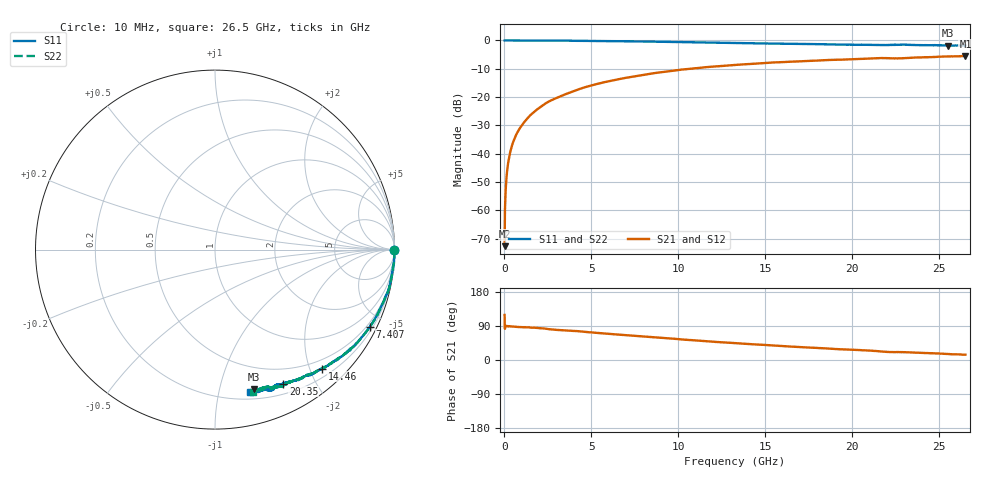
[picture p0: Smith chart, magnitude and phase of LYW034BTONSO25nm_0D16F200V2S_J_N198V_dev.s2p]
!Keysight Technologies,N5222B,MY61253708,A.15.00.15
!Date: Wednesday, June 19, 2024 10:42:51
!Correction: S11(C  2-Port  )
!S21(C  2-Port  )
!S12(C  2-Port  )
!S22(C  2-Port  )
!S2P File: Measurements: S11, S21, S12, S22:
# Hz S  RI  R 50
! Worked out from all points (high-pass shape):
!   2651 points, 10 MHz to 26.5 GHz, reference 50 ohm
!   highest |S21| = -5.47 dB at 26.5 GHz (marker M1); lowest = -72.6 dB at 10 MHz (marker M2)
!   |S21| within 3 dB of the highest: 13.64259 GHz to 13.65715 GHz (14.56 MHz wide, 0.107 % of centre); 13.7 GHz to end of sweep
!   lowest |S11| = -1.9 dB at 25.5 GHz (marker M3), VSWR 9.40, Z = 14.3 - j63.9 ohm
!   |S11| at or under -10 dB: nowhere
!   |S22| runs from -1.8 to 0.0 dB; largest |S21 - S12| = 0.0075
!   S11 on the Smith chart (normalised r, x): 10 MHz: open; 7.407 GHz: 0.35, -4.22; 14.46 GHz: 0.34, -2.20; 20.35 GHz: 0.32, -1.59; 26.5 GHz: 0.26, -1.25
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1e7  0.9984 -0.0034  -0.000113 0.000205  0.000213 0.000174  0.9982 -0.00215
7.997358e7  0.9999 -0.00563  3.12e-05 0.00255  -1.37e-06 0.00257  0.9994 -0.00523
1.499472e8  1 -0.0106  4.34e-05 0.00485  5.35e-05 0.00486  0.9996 -0.01
1.899321e8  1 -0.0124  8.49e-05 0.0061  0.000113 0.00613  0.9998 -0.0117
2.499094e8  0.9996 -0.0167  0.000126 0.00806  0.000137 0.00806  0.9994 -0.0159
3.498717e8  0.9998 -0.0232  0.000243 0.0113  0.000263 0.0113  0.9997 -0.0224
4.698264e8  0.9985 -0.0315  0.000476 0.0151  0.000419 0.0152  0.9983 -0.0304
6.29766e8  0.9987 -0.0406  0.000845 0.0202  0.000805 0.0203  0.9986 -0.0402
8.196943e8  0.9979 -0.0534  0.00136 0.0262  0.00133 0.0263  0.9978 -0.0525
1.43946e9  0.991 -0.0945  0.00313 0.0462  0.00319 0.0462  0.9936 -0.0914
2.329125e9  0.9826 -0.1484  0.00939 0.0757  0.00951 0.0759  0.984 -0.1487
3.208792e9  0.973 -0.2029  0.02 0.1014  0.02 0.1016  0.9728 -0.2024
4.428332e9  0.9453 -0.2747  0.0364 0.1382  0.0366 0.1385  0.9472 -0.2723
7.407208e9  0.8624 -0.4303  0.1008 0.2079  0.1016 0.208  0.864 -0.4291
8.846664e9  0.8117 -0.4947  0.1392 0.2329  0.14 0.2329  0.813 -0.4938
1.3255e10  0.6409 -0.6368  0.2635 0.2594  0.2649 0.2588  0.6438 -0.6365
1.446454e10  0.596 -0.6635  0.2941 0.257  0.2951 0.2562  0.5984 -0.6599
1.767333e10  0.4715 -0.7203  0.3691 0.2348  0.3715 0.2331  0.4804 -0.7181
2.035232e10  0.3814 -0.7468  0.4222 0.2077  0.4235 0.2057  0.3947 -0.747
2.209166e10  0.3369 -0.7573  0.4531 0.1754  0.4538 0.1729  0.329 -0.7633
2.550038e10  0.217 -0.778  0.5033 0.1403  0.5039 0.1405  0.2362 -0.78
2.65e10  0.1976 -0.793  0.5169 0.1295  0.5154 0.1261  0.2097 -0.7909
